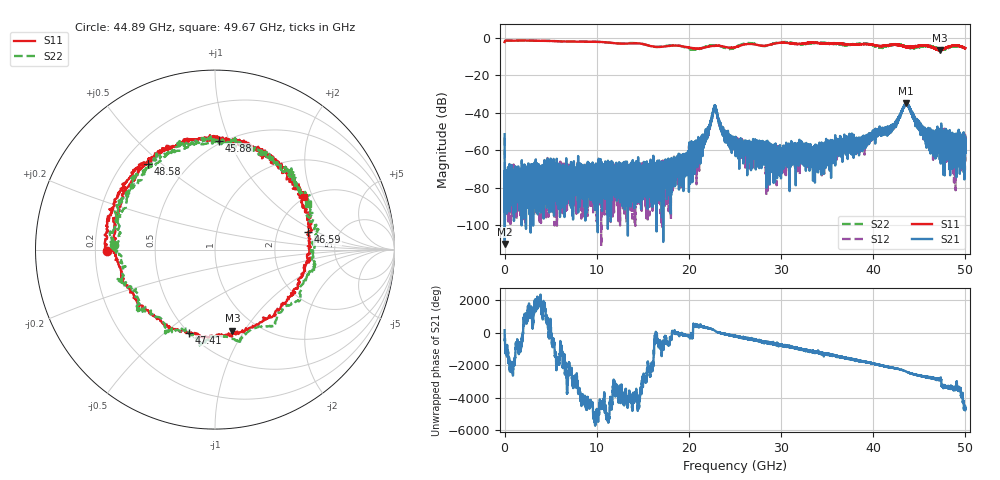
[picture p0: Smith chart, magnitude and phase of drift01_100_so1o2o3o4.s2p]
!Created with skrf (http://scikit-rf.org).
# Hz S RI R 50.0
!freq ReS11 ImS11 ReS21 ImS21 ReS12 ImS12 ReS22 ImS22
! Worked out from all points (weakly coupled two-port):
!   10001 points, 300 kHz to 50 GHz, reference 50 ohm
!   highest |S21| = -34.80 dB at 43.53 GHz (marker M1); lowest = -109.9 dB at 15.3 MHz (marker M2)
!   lowest |S11| = -6.7 dB at 47.21 GHz (marker M3), VSWR 2.72, Z = 38.6 - j44.3 ohm
!   |S11| at or under -10 dB: nowhere
!   |S22| runs from -6.6 to -1.4 dB; largest |S21 - S12| = 0.004
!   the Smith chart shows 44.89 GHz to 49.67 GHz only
!   S11 on the Smith chart (normalised r, x): 44.89 GHz: 0.25, -0.00; 45.88 GHz: 0.48, +0.92; 46.59 GHz: 2.98, +0.80; 47.41 GHz: 0.50, -0.61; 48.58 GHz: 0.30, +0.45; 49.67 GHz: 1.96, +1.73
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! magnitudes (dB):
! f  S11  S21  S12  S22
! 300 kHz  -2.2  -51.4  -52.9  -2.1
! 15.3 MHz  -2.0  -109.9  -77.6  -2.0
! 260.3 MHz  -1.4  -74.6  -79.3  -1.4
! 8.335 GHz  -1.9  -84.6  -76.5  -1.8
! 16.67 GHz  -4.8  -68.3  -70.8  -4.8
! 20.58 GHz  -5.5  -57.8  -66.1  -6.3
! 21.85 GHz  -5.0  -53.9  -52.9  -4.7
! 22.8 GHz  -4.3  -36.3  -36.3  -4.0
! 23.74 GHz  -4.6  -50.5  -49.2  -5.0
! 25 GHz  -5.0  -55.7  -59.4  -5.1
! 29.85 GHz  -2.6  -69.2  -64.5  -2.4
! 33.34 GHz  -2.6  -60.4  -60.4  -2.7
! 41.67 GHz  -3.9  -50.0  -50.2  -4.2
! 43.53 GHz  -4.7  -34.8  -35.0  -4.7
! 44.89 GHz  -4.4  -44.2  -46.9  -5.0
! 45.88 GHz  -4.4  -50.2  -55.0  -4.2
! 46.59 GHz  -5.6  -50.9  -52.0  -4.8
! 47.21 GHz  -6.7  -48.8  -56.0  -5.9
! 47.41 GHz  -6.3  -52.3  -57.0  -5.5
! 48.58 GHz  -4.3  -69.9  -55.7  -4.6
! 49.67 GHz  -4.8  -52.1  -64.6  -4.7
! 50 GHz  -5.4  -52.9  -55.2  -5.4
